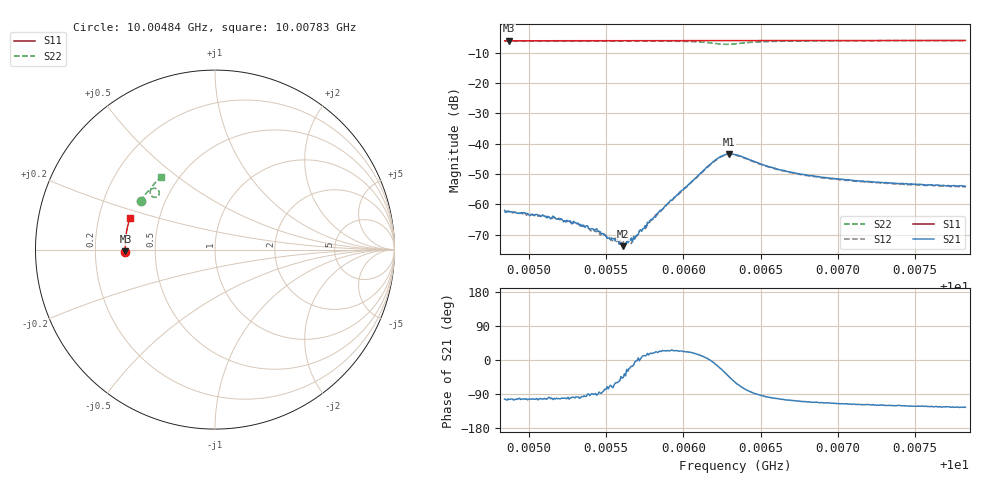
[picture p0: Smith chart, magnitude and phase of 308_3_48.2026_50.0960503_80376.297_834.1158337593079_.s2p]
#  HZ  S  RI  R  50.00
! Rohde & Schwarz Vector Network Analyzer
! Rohde-Schwarz,ZNB20-2Port,1311601062101988,3.16
! Created: UTC 3/20/2024, 11:49:52 AM
! freq[Hz]  re:S11  im:S11  re:S21  im:S21  re:S12  im:S12  re:S22  im:S22
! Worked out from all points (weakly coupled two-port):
!   401 points, 10.00484 GHz to 10.00783 GHz, reference 50 ohm
!   highest |S21| = -43.40 dB at 10.0063 GHz (marker M1); lowest = -73.8 dB at 10.00561 GHz (marker M2)
!   lowest |S11| = -6.0 dB at 10.00487 GHz (marker M3), VSWR 2.99, Z = 16.7 - j0.47 ohm
!   |S11| at or under -10 dB: nowhere
!   |S22| runs from -7.2 to -6.0 dB; largest |S21 - S12| = 0.00038
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1.0004841e10  -0.4991 -0.0124  -0.000179 -0.000773  -0.000146 -0.000735  -0.4146 0.2686
1.0004871e10  -0.4992 -0.0106  -0.000188 -0.00074  -0.000113 -0.000756  -0.4135 0.2703
1.000517e10  -0.4999 0.00896  -0.000132 -0.000577  -6.54e-05 -0.000576  -0.4025 0.288
1.0005304e10  -0.4999 0.0177  -6.21e-05 -0.000486  -3.7e-05 -0.000492  -0.3971 0.296
1.0005342e10  -0.4999 0.0201  -4.94e-05 -0.000432  -2.3e-05 -0.000456  -0.3957 0.2983
1.0005446e10  -0.4998 0.0268  -1.5e-06 -0.000358  2.57e-05 -0.000335  -0.3908 0.3045
1.0005513e10  -0.4996 0.0313  6.63e-05 -0.00027  8.43e-05 -0.000262  -0.3876 0.3087
1.0005536e10  -0.4997 0.0328  9.29e-05 -0.000262  7e-05 -0.000244  -0.3866 0.3102
1.0005588e10  -0.4996 0.0361  0.000127 -0.000179  0.000157 -0.0002  -0.384 0.3133
1.000561e10  -0.4993 0.0375  0.000141 -0.000147  0.000196 -0.000139  -0.3826 0.3147
1.0005678e10  -0.4991 0.0419  0.000285 -6.54e-05  0.000251 -6.03e-05  -0.379 0.3191
1.0005722e10  -0.4991 0.0448  0.000378 1.97e-05  0.000372 4.66e-05  -0.3764 0.3218
1.000576e10  -0.4989 0.0473  0.000405 8.73e-05  0.000432 0.000112  -0.3739 0.3242
1.0005842e10  -0.4985 0.0526  0.00069 0.000285  0.000671 0.000274  -0.368 0.3294
1.0006193e10  -0.4959 0.0751  0.00501 -0.000493  0.00492 -0.000288  -0.3147 0.3294
1.0006245e10  -0.4953 0.0783  0.00568 -0.0025  0.00568 -0.00217  -0.3106 0.3115
1.0006297e10  -0.495 0.0813  0.00479 -0.00477  0.00492 -0.00446  -0.3216 0.2946
1.0006334e10  -0.4947 0.0836  0.00344 -0.00566  0.00366 -0.00538  -0.3351 0.291
1.0006618e10  -0.4924 0.1018  -0.000826 -0.00366  -0.000631 -0.00362  -0.3589 0.333
1.0006835e10  -0.4898 0.1155  -0.00108 -0.00277  -0.000906 -0.00274  -0.3494 0.3522
1.0007335e10  -0.4824 0.1468  -0.00112 -0.00195  -0.000997 -0.00198  -0.3245 0.3814
1.0007828e10  -0.4732 0.1773  -0.00112 -0.00162  -0.00102 -0.00163  -0.2994 0.4046
